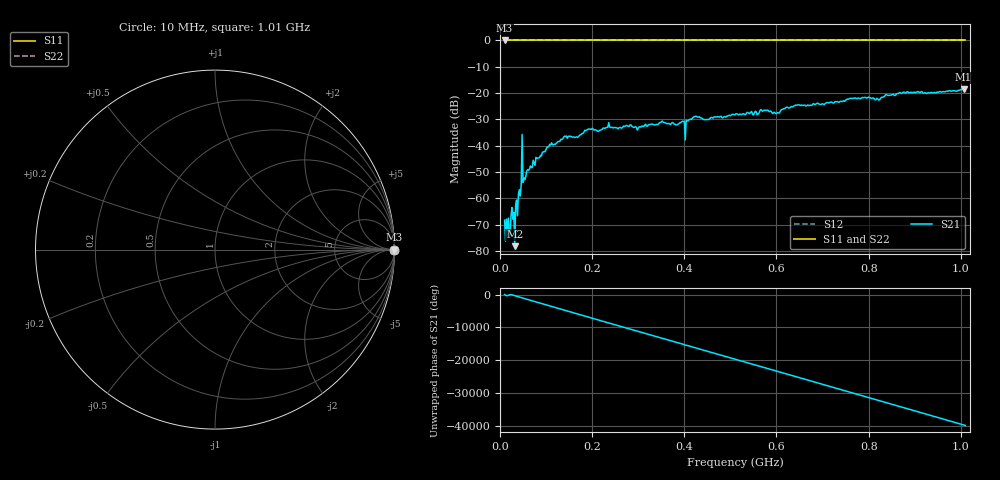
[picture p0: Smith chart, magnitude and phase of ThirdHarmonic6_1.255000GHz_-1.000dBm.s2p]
! 8/16/2025 1:27:14 PM
! C:\ANRITSUVNA\TEMP\TEMP.S2P
! CHANNEL.1
! TR.MEASUREMENT
! RAW.DATA
! RF.CORRECTION.OFF
! AVERAGING.OFF
! IF.BANDWIDTH: 5KHZ
! SWEEPTYPE:  FREQ.SWEEP(Linear)
! Reference Plane Port Info
! PORT:  PORT1  PORT2
! DISTANCE:  0  m  0  m
! TIME:  0  s  0  s
! PHASE.OFFSET:  0  deg.  0  deg.
! LOSS:  0  dB  0  dB
! REF.LOSS:  0  dB  0  dB
! REF.FREQ:  0  Hz  0  Hz
! Power Info
! POWER:  -20  dBm  -20  dBm
! EFF.POWER:  -20  dBm  -20  dBm
! SOURCE.ATTEN:  0  dB  0  dB
! TEST.ATTEN:  0  dB  0  dB
# GHZ S RI R 50.0
! FREQ.GHZ  S11RE  S11IM  S21RE  S21IM  S12RE  S12IM  S22RE  S22IM
!; PortSelection: Port_12
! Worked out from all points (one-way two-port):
!   501 points, 10 MHz to 1.01 GHz, reference 50 ohm
!   highest |S21| = -18.52 dB at 1.006 GHz (marker M1); lowest = -78.1 dB at 32 MHz (marker M2)
!   lowest |S11| = 0.0 dB at 10 MHz (marker M3)
!   |S11| at or under -10 dB: nowhere
!   |S22| runs from 0.0 to 0.0 dB; largest |S21 - S12| = 1.1
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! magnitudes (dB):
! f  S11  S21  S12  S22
! 10 MHz  0.0  -68.2  0.0  0.0
! 16 MHz  0.0  -74.7  0.0  0.0
! 26 MHz  0.0  -63.4  0.0  0.0
! 32 MHz  0.0  -78.1  0.0  0.0
! 36 MHz  0.0  -60.6  0.0  0.0
! 38 MHz  0.0  -66.5  0.0  0.0
! 42 MHz  0.0  -56.7  0.0  0.0
! 44 MHz  0.0  -59.0  0.0  0.0
! 52 MHz  0.0  -52.2  0.0  0.0
! 54 MHz  0.0  -52.9  0.0  0.0
! 108 MHz  0.0  -39.5  0.0  0.0
! 178 MHz  0.0  -35.4  0.0  0.0
! 234 MHz  0.0  -32.9  0.0  0.0
! 344 MHz  0.0  -31.7  0.0  0.0
! 398 MHz  0.0  -30.8  0.0  0.0
! 422 MHz  0.0  -28.9  0.0  0.0
! 510 MHz  0.0  -28.2  0.0  0.0
! 602 MHz  0.0  -27.4  0.0  0.0
! 678 MHz  0.0  -24.3  0.0  0.0
! 844 MHz  0.0  -20.9  0.0  0.0
! 1.006 GHz  0.0  -18.5  0.0  0.0
! 1.01 GHz  0.0  -19.3  0.0  0.0
